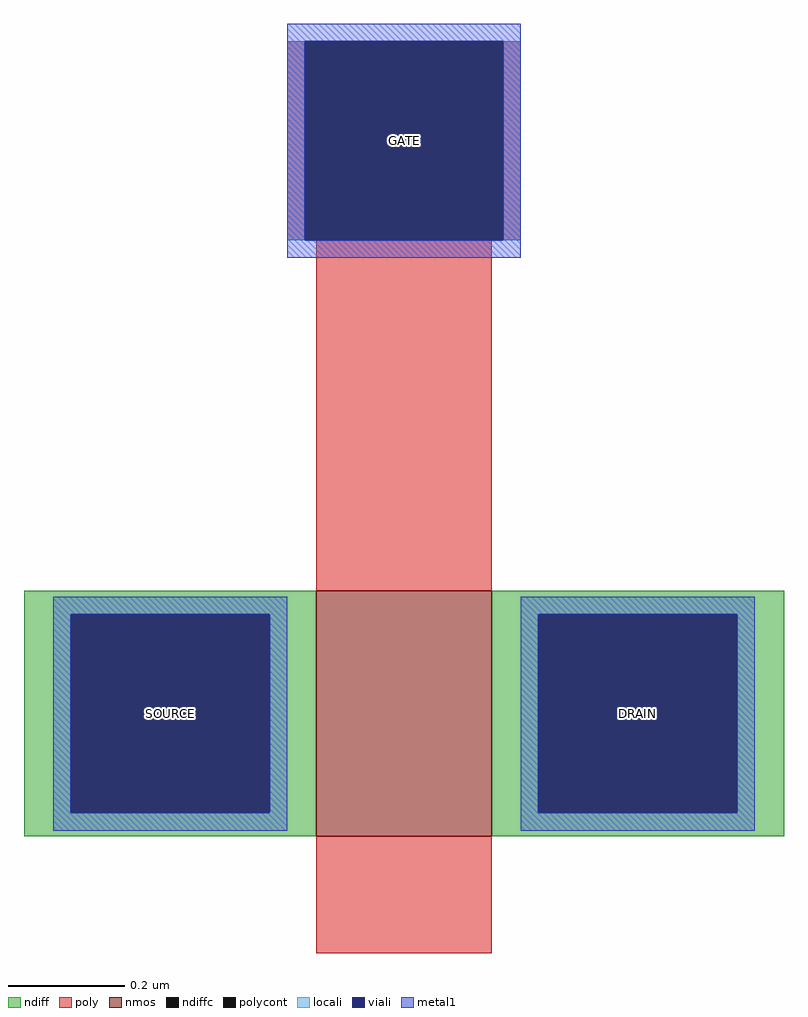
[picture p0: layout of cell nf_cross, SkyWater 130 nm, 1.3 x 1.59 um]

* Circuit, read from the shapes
.subckt nf_cross SOURCE DRAIN GATE
XM1 DRAIN GATE SOURCE VSUBS sky130_fd_pr__nfet_01v8 w=0.42 l=0.3
.ends

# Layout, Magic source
magic
tech sky130A
<< nmos >>
rect 50 0 80 42
<< ndiff >>
rect 0 38 50 42
rect 0 4 8 38
rect 42 4 50 38
rect 0 0 50 4
rect 80 38 130 42
rect 80 4 88 38
rect 122 4 130 38
rect 80 0 130 4
<< ndiffc >>
rect 8 4 42 38
rect 88 4 122 38
<< poly >>
rect 45 102 48 136
rect 82 102 85 136
rect 50 42 80 102
rect 50 -20 80 0
<< polycont >>
rect 48 102 82 136
<< locali >>
rect 45 102 48 136
rect 82 102 85 136
<< viali >>
rect 48 102 82 136
rect 8 4 42 38
rect 88 4 122 38
<< metal1 >>
rect 45 136 85 139
rect 45 102 48 136
rect 82 102 85 136
rect 45 99 85 102
rect 5 38 45 41
rect 5 4 8 38
rect 42 4 45 38
rect 5 1 45 4
rect 85 38 125 41
rect 85 4 88 38
rect 122 4 125 38
rect 85 1 125 4
<< labels >>
flabel metal1 s 5 1 45 41 0 FreeSans 200 0 0 0 SOURCE
port 1 nsew
flabel metal1 s 85 1 125 41 0 FreeSans 200 0 0 0 DRAIN
port 2 nsew
flabel metal1 s 45 99 85 139 0 FreeSans 200 0 0 0 GATE
port 3 nsew
<< end >>
